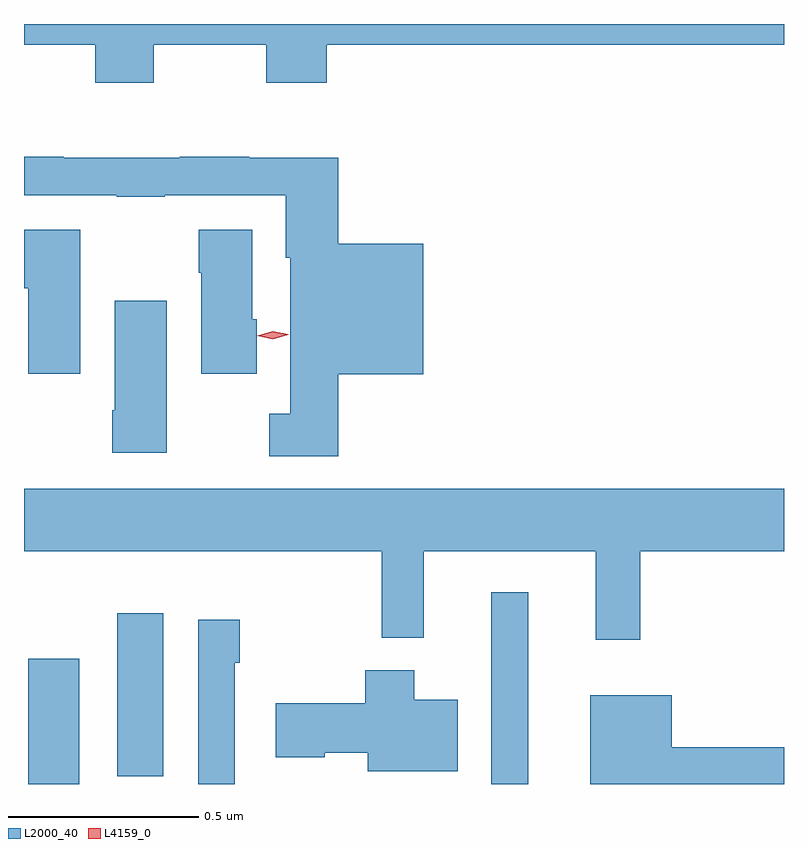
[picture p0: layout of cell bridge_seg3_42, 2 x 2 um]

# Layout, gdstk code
import gdstk
lib = gdstk.Library(unit=1e-6, precision=1e-09)
def R(c, l, rs):  # rectangles x0, y0, x1, y1
    for r in rs: c.add(gdstk.rectangle(r[:2], r[2:], *l))
def P(c, l, *ps):  # polygons
    for p in ps: c.add(gdstk.Polygon(p, *l))
L2000_40 = (2000, 40)
L4159_0 = (4159, 0)

bridge_seg3_42 = lib.new_cell('bridge_seg3_42')
R(bridge_seg3_42, L2000_40, [(702.368,682.987,702.502,683.317), (703.587,682.987,703.684,683.491), (702.602,683.007,702.724,683.437)])
P(bridge_seg3_42, L2000_40, [(702.699,684.932),(702.994,684.932),(702.994,684.833),(703.154,684.833),(703.154,684.932),(704.357,684.932),(704.357,684.987),(702.357,684.987),(702.357,684.932),(702.544,684.932),(702.544,684.833),(702.699,684.833)],
  [(703.184,684.065),(703.408,684.065),(703.408,684.409),(703.184,684.409),(703.184,684.635),(702.95,684.635),(702.95,684.638),(702.767,684.638),(702.767,684.635),(702.461,684.635),(702.461,684.638),(702.357,684.638),(702.357,684.537),(702.601,684.537),(702.601,684.532),(702.728,684.532),(702.728,684.537),(703.046,684.537),(703.046,684.372),(703.058,684.372),(703.058,683.962),(703.002,683.962),(703.002,683.849),(703.184,683.849)],
  [(702.97,684.21),(702.958,684.21),(702.958,684.445),(702.817,684.445),(702.817,684.332),(702.824,684.332),(702.824,684.066),(702.97,684.066)],
  [(702.505,684.445),(702.357,684.445),(702.357,684.291),(702.368,684.291),(702.368,684.066),(702.505,684.066)],
  [(702.733,684.259),(702.596,684.259),(702.596,683.971),(702.589,683.971),(702.589,683.859),(702.733,683.859)],
  [(703.979,683.6),(704.357,683.6),(704.357,683.764),(702.357,683.764),(702.357,683.6),(703.299,683.6),(703.299,683.372),(703.409,683.372),(703.409,683.6),(703.862,683.6),(703.862,683.367),(703.979,683.367)],
  [(702.912,683.306),(702.925,683.306),(702.925,683.419),(702.816,683.419),(702.816,682.987),(702.912,682.987)],
  [(703.498,683.209),(703.384,683.209),(703.384,683.287),(703.255,683.287),(703.255,683.199),(703.02,683.199),(703.02,683.057),(703.149,683.057),(703.149,683.069),(703.262,683.069),(703.262,683.021),(703.498,683.021)],
  [(704.357,683.084),(704.062,683.084),(704.062,683.221),(703.847,683.221),(703.847,682.987),(704.357,682.987)])
P(bridge_seg3_42, L4159_0, [(703.012,684.158),(702.971,684.166),(702.971,684.166),(702.971,684.166),(703.011,684.178),(703.052,684.17),(703.052,684.169),(703.052,684.169)])

lib.write_gds('bridge_seg3_42.gds')
